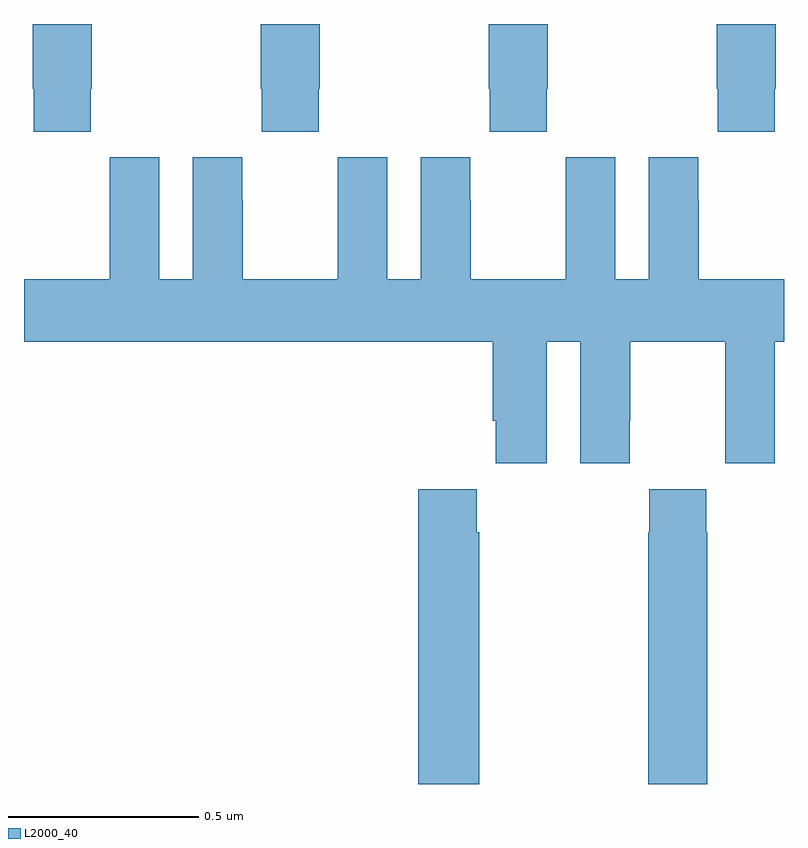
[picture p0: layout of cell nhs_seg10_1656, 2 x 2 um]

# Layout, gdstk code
import gdstk
lib = gdstk.Library(unit=1e-6, precision=1e-09)
def P(c, l, *ps):  # polygons
    for p in ps: c.add(gdstk.Polygon(p, *l))
L2000_40 = (2000, 40)

nhs_seg10_1656 = lib.new_cell('nhs_seg10_1656')
P(nhs_seg10_1656, L2000_40, [(131.175,1286.329),(131.178,1286.329),(131.178,1286.5),(131.023,1286.5),(131.023,1286.329),(131.025,1286.329),(131.025,1286.217),(131.175,1286.217)],
  [(131.775,1286.329),(131.778,1286.329),(131.778,1286.5),(131.623,1286.5),(131.623,1286.329),(131.625,1286.329),(131.625,1286.217),(131.775,1286.217)],
  [(132.375,1286.329),(132.378,1286.329),(132.378,1286.5),(132.223,1286.5),(132.223,1286.329),(132.225,1286.329),(132.225,1286.217),(132.375,1286.217)],
  [(132.975,1286.329),(132.978,1286.329),(132.978,1286.5),(132.823,1286.5),(132.823,1286.329),(132.825,1286.329),(132.825,1286.217),(132.975,1286.217)],
  [(132.376,1285.664),(132.464,1285.664),(132.464,1285.344),(132.594,1285.344),(132.594,1285.456),(132.595,1285.456),(132.595,1285.664),(132.845,1285.664),(132.845,1285.456),(132.846,1285.456),(132.846,1285.344),(132.976,1285.344),(132.976,1285.664),(133,1285.664),(133,1285.828),(132.775,1285.828),(132.775,1286.036),(132.774,1286.036),(132.774,1286.149),(132.644,1286.149),(132.644,1285.828),(132.556,1285.828),(132.556,1286.149),(132.426,1286.149),(132.426,1286.036),(132.425,1286.036),(132.425,1285.828),(132.175,1285.828),(132.175,1286.036),(132.174,1286.036),(132.174,1286.149),(132.044,1286.149),(132.044,1285.828),(131.956,1285.828),(131.956,1286.149),(131.826,1286.149),(131.826,1286.036),(131.825,1286.036),(131.825,1285.828),(131.575,1285.828),(131.575,1286.036),(131.574,1286.036),(131.574,1286.149),(131.444,1286.149),(131.444,1285.828),(131.356,1285.828),(131.356,1286.149),(131.226,1286.149),(131.226,1286.036),(131.225,1286.036),(131.225,1285.828),(131,1285.828),(131,1285.664),(132.233,1285.664),(132.233,1285.456),(132.242,1285.456),(132.242,1285.344),(132.376,1285.344)],
  [(132.798,1285.163),(132.795,1285.163),(132.795,1285.276),(132.645,1285.276),(132.645,1285.163),(132.643,1285.163),(132.643,1284.5),(132.798,1284.5)],
  [(132.198,1285.163),(132.191,1285.163),(132.191,1285.276),(132.038,1285.276),(132.038,1284.5),(132.198,1284.5)])

lib.write_gds('nhs_seg10_1656.gds')
